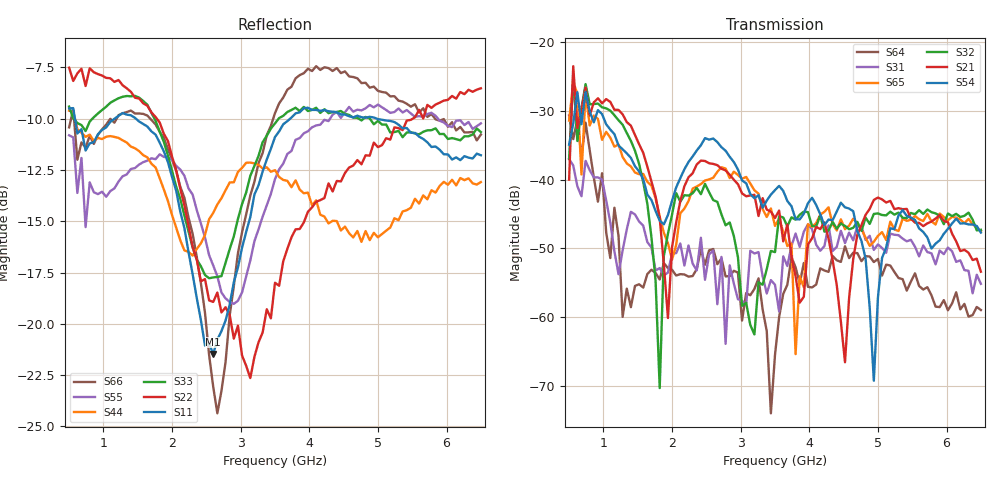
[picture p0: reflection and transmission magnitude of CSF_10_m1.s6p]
!Keysight Technologies,M9804A,MY58100912,A.14.10.03
!Date: Thursday, April 27, 2023 10:28:33
!Correction: S11(C  6-Port  )
!S12(C  6-Port  )
!S13(C  6-Port  )
!S14(C  6-Port  )
!S15(C  6-Port  )
!S16(C  6-Port  )
!S21(C  6-Port  )
!S22(C  6-Port  )
!S23(C  6-Port  )
!S24(C  6-Port  )
!S25(C  6-Port  )
!S26(C  6-Port  )
!S31(C  6-Port  )
!S32(C  6-Port  )
!S33(C  6-Port  )
!S34(C  6-Port  )
!S35(C  6-Port  )
!S36(C  6-Port  )
!S41(C  6-Port  )
!S42(C  6-Port  )
!S43(C  6-Port  )
!S44(C  6-Port  )
!S45(C  6-Port  )
!S46(C  6-Port  )
!S51(C  6-Port  )
!S52(C  6-Port  )
!S53(C  6-Port  )
!S54(C  6-Port  )
!S55(C  6-Port  )
!S56(C  6-Port  )
!S61(C  6-Port  )
!S62(C  6-Port  )
!S63(C  6-Port  )
!S64(C  6-Port  )
!S65(C  6-Port  )
!S66(C  6-Port  )
!S6P File: Measurement: :
# Hz S  RI  R 50
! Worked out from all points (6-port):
!   101 points, 500 MHz to 6.5 GHz, reference 50 ohm
!   strongest paths, dB at 500 MHz, 2 GHz, 3.5 GHz, 5 GHz, 6.5 GHz:
!     S54: -34.9, -43.1, -41.5, -57.1, -47.7
!     S21: -40.0, -49.8, -45.6, -42.6, -53.4
!     S32: -37.0, -45.1, -50.6, -44.9, -47.3
!     S65: -31.4, -51.7, -46.7, -48.2, -47.5
!     S31: -37.0, -50.7, -55.3, -49.4, -55.2
!     S64: -30.7, -53.1, -65.5, -51.6, -59.0
!   lowest |S11| = -21.5 dB at 2.6 GHz (marker M1), VSWR 1.18, Z = 42.5 + j2 ohm
!   |S11| at or under -10 dB: 584.9 MHz to 1.163 GHz (578.2 MHz wide, 66.2 % of centre); 1.472 GHz to 3.722 GHz (2.249 GHz wide, 86.6 % of centre); 4.983 GHz to end of sweep
